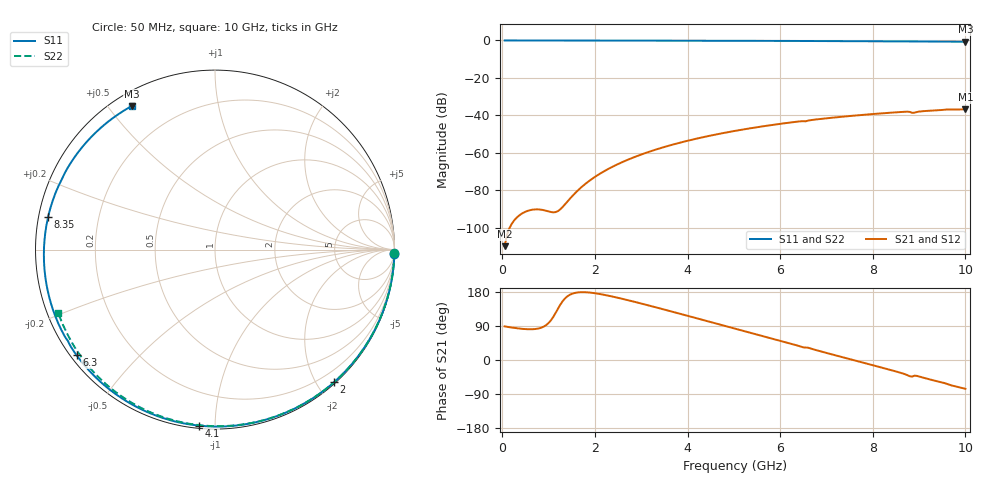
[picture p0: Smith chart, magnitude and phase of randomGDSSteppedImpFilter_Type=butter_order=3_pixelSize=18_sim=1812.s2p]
! freq	dB(S11)	phase(S11)	dB(S12)	phase(S12)
!  dB(S21)	phase(S21)	dB(S22)	phase(S22)
!S-par simulation data
#  GHz  S  DB  R 50
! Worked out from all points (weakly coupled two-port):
!   200 points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, 50 MHz to 10 GHz, reference 50 ohm
!   highest |S21| = -36.73 dB at 10 GHz (marker M1); lowest = -109.7 dB at 50 MHz (marker M2)
!   lowest |S11| = -0.7 dB at 10 GHz (marker M3), VSWR 25.49, Z = 2.61 + j28.8 ohm
!   |S11| at or under -10 dB: nowhere
!   |S22| runs from -0.5 to 0.0 dB; largest |S21 - S12| = 0
!   S11 on the Smith chart (normalised r, x): 50 MHz: 1, -92; 2 GHz: 0.02, -2.24; 4.1 GHz: 0.01, -0.91; 6.3 GHz: 0.02, -0.34; 8.35 GHz: 0.03, +0.10; 10 GHz: 0.05, +0.58
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0.05  -0.00 -1.2  -109.68 88.7  -109.68 88.7  -0.00 -0.9
0.8  -0.02 -19.6  -90.11 83.7  -90.11 83.7  -0.02 -14.5
1.6  -0.05 -38.7  -80.71 177.7  -80.71 177.7  -0.04 -28.8
1.65  -0.05 -39.9  -79.53 178.5  -79.53 178.5  -0.04 -29.7
1.75  -0.05 -42.3  -77.35 179.0  -77.35 179.0  -0.04 -31.4
2  -0.06 -48.1  -72.76 176.2  -72.76 176.2  -0.05 -35.8
2.3  -0.07 -55.1  -68.37 169.5  -68.37 169.5  -0.05 -41.0
2.6  -0.08 -62.0  -64.77 161.2  -64.77 161.2  -0.06 -46.1
3  -0.09 -71.0  -60.81 149.1  -60.81 149.1  -0.07 -52.9
3.4  -0.11 -80.0  -57.53 136.3  -57.53 136.3  -0.08 -59.6
4.1  -0.13 -95.3  -52.89 113.4  -52.89 113.4  -0.10 -71.0
5.05  -0.18 -115.7  -48.10 82.0  -48.10 82.0  -0.13 -85.9
5.65  -0.22 -128.6  -45.70 62.2  -45.70 62.2  -0.16 -95.0
6.3  -0.26 -142.7  -43.50 40.7  -43.50 40.7  -0.19 -104.7
6.7  -0.30 -151.4  -42.35 28.8  -42.35 28.8  -0.22 -110.5
7.55  -0.38 -171.1  -40.18 0.8  -40.18 0.8  -0.28 -122.8
8.35  -0.47 169.0  -38.58 -25.2  -38.58 -25.2  -0.34 -134.2
8.75  -0.52 158.2  -37.99 -40.1  -37.99 -40.1  -0.39 -139.9
8.9  -0.54 154.1  -38.52 -41.3  -38.52 -41.3  -0.41 -142.0
9.2  -0.57 145.3  -37.50 -50.3  -37.50 -50.3  -0.43 -146.3
9.6  -0.63 133.1  -36.81 -63.0  -36.81 -63.0  -0.48 -152.1
10  -0.68 120.0  -36.73 -75.9  -36.73 -75.9  -0.53 -158.0
